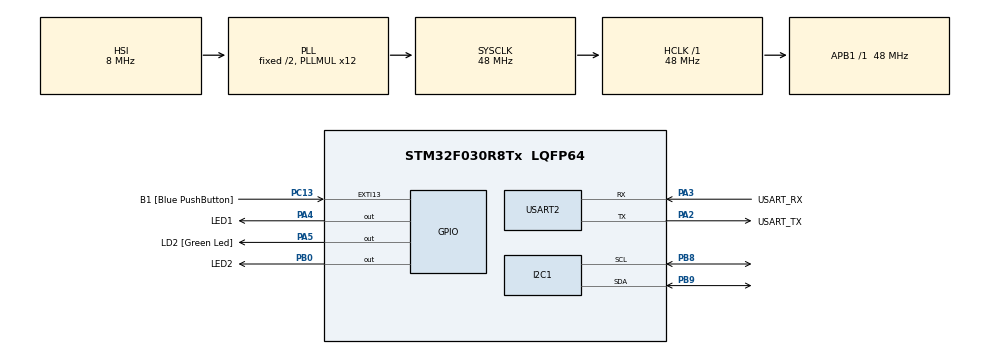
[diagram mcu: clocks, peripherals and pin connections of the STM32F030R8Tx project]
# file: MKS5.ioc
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Dma.Request0=USART2_RX
Dma.USART2_RX.0.Direction=DMA_PERIPH_TO_MEMORY
Dma.USART2_RX.0.Instance=DMA1_Channel5
Dma.USART2_RX.0.MemDataAlignment=DMA_MDATAALIGN_BYTE
Dma.USART2_RX.0.MemInc=DMA_MINC_ENABLE
Dma.USART2_RX.0.Mode=DMA_CIRCULAR
Dma.USART2_RX.0.PeriphDataAlignment=DMA_PDATAALIGN_BYTE
Dma.USART2_RX.0.PeriphInc=DMA_PINC_DISABLE
Dma.USART2_RX.0.Priority=DMA_PRIORITY_LOW
I2C1.Timing=0x00201D2B
Mcu.Family=STM32F0
Mcu.Name=STM32F030R8Tx
Mcu.Package=LQFP64
NVIC.DMA1_Channel4_5_IRQn=true\:0\:0\:false\:false\:true\:false\:true\:true
PA13.GPIO_Label=TMS
PA13.Mode=Serial_Wire
PA13.Signal=SYS_SWDIO
PA14.GPIO_Label=TCK
PA14.Mode=Serial_Wire
PA14.Signal=SYS_SWCLK
PA2.GPIO_Label=USART_TX
PA2.GPIO_Mode=GPIO_MODE_AF_PP
PA2.GPIO_PuPd=GPIO_NOPULL
PA2.GPIO_Speed=GPIO_SPEED_FREQ_LOW
PA2.Mode=Asynchronous
PA2.Signal=USART2_TX
PA3.GPIO_Label=USART_RX
PA3.GPIO_Mode=GPIO_MODE_AF_PP
PA3.GPIO_PuPd=GPIO_NOPULL
PA3.GPIO_Speed=GPIO_SPEED_FREQ_LOW
PA3.Mode=Asynchronous
PA3.Signal=USART2_RX
PA4.GPIO_Label=LED1
PA4.Signal=GPIO_Output
PA5.GPIO_Label=LD2 [Green Led]
PA5.GPIO_Mode=GPIO_MODE_OUTPUT_PP
PA5.GPIO_PuPd=GPIO_NOPULL
PA5.GPIO_Speed=GPIO_SPEED_FREQ_LOW
PA5.Signal=GPIO_Output
PB0.GPIO_Label=LED2
PB0.Signal=GPIO_Output
PB8.Mode=I2C
PB8.Signal=I2C1_SCL
PB9.Mode=I2C
PB9.Signal=I2C1_SDA
PC13.GPIO_Label=B1 [Blue PushButton]
PC13.GPIO_ModeDefaultEXTI=GPIO_MODE_IT_FALLING
PC13.Signal=GPXTI13
PC14-OSC32_IN.Mode=LSE-External-Oscillator
PC14-OSC32_IN.Signal=RCC_OSC32_IN
PC15-OSC32_OUT.Mode=LSE-External-Oscillator
PC15-OSC32_OUT.Signal=RCC_OSC32_OUT
PF0-OSC_IN.Mode=HSE-External-Clock-Source
PF0-OSC_IN.Signal=RCC_OSC_IN
PF1-OSC_OUT.Signal=RCC_OSC_OUT
ProjectManager.HeapSize=0x200
ProjectManager.StackSize=0x400
ProjectManager.TargetToolchain=STM32CubeIDE
RCC.AHBFreq_Value=48000000
RCC.APB1Freq_Value=48000000
RCC.APB1TimFreq_Value=48000000
RCC.HCLKFreq_Value=48000000
RCC.PLLMUL=RCC_PLL_MUL12
RCC.SYSCLKFreq_VALUE=48000000
RCC.SYSCLKSource=RCC_SYSCLKSOURCE_PLLCLK
USART2.VirtualMode-Asynchronous=VM_ASYNC
board=NUCLEO-F030R8

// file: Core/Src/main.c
/* USER CODE BEGIN Header */
/**
  ******************************************************************************
  * @file           : main.c
  * @brief          : Main program body
  ******************************************************************************
  * @attention
  *
  * Copyright (c) 2024 STMicroelectronics.
  * All rights reserved.
  *
  * This software is licensed under terms that can be found in the LICENSE file
  * in the root directory of this software component.
  * If no LICENSE file comes with this software, it is provided AS-IS.
  *
  ******************************************************************************
  */
/* USER CODE END Header */
#include "main.h"

/* USER CODE BEGIN Includes */
#include <stdio.h>
#include <string.h>
#include <stdlib.h>

#define RX_BUFFER_LEN 64
#define CMD_BUFFER_LEN 256
static uint8_t uart_rx_buf[RX_BUFFER_LEN];
static volatile uint16_t uart_rx_read_ptr = 0;
#define uart_rx_write_ptr (RX_BUFFER_LEN - hdma_usart2_rx.Instance->CNDTR)
#define EEPROM_ADDR 0xA0

/* USER CODE END Includes */

I2C_HandleTypeDef hi2c1;

UART_HandleTypeDef huart2;
DMA_HandleTypeDef hdma_usart2_rx;

void SystemClock_Config(void);
static void MX_GPIO_Init(void);
static void MX_DMA_Init(void);
static void MX_USART2_UART_Init(void);
static void MX_I2C1_Init(void);

/* USER CODE BEGIN 0 */

int _write(int file, char const *buf, int n)
{
	/* stdout redirection to UART2 */
	HAL_UART_Transmit(&huart2, (uint8_t*)(buf), n, HAL_MAX_DELAY);
	return n;
}

static void uart_process_command(char *cmd)
{
	printf("received: '%s'\n", cmd);

	uint16_t addr = 1;
	uint8_t value = 0;
	uint8_t value2[16];

	char *token;
	token = strtok(cmd, " ");
	if (strcasecmp(token, "HELLO") == 0)
	{
		printf("Communication OK\n");
	}
	else if (strcasecmp(token, "LED1") == 0)
	{
		token = strtok(NULL, " "); // led1?"ON":"OFF"
		if (strcasecmp(token, "ON") == 0)
		{
			HAL_GPIO_WritePin(LED1_GPIO_Port, LED1_Pin, 1);
		} else if (strcasecmp(token, "OFF") == 0)
		{
			HAL_GPIO_WritePin(LED1_GPIO_Port, LED1_Pin, 0);
		}
		printf("OK\n");
	}
	else if (strcasecmp(token, "LED2") == 0)
	{
		token = strtok(NULL, " ");
		if (strcasecmp(token, "ON") == 0)
		{
			HAL_GPIO_WritePin(LED2_GPIO_Port, LED2_Pin, 1);
		} else if (strcasecmp(token, "OFF") == 0)
		{
			HAL_GPIO_WritePin(LED2_GPIO_Port, LED2_Pin, 0);
		}
		printf("OK\n");
	}
	else if (strcasecmp(token, "STATUS") == 0)
	{
		if(HAL_GPIO_ReadPin(LED1_GPIO_Port, LED1_Pin))
		{
			printf("LED1 is ON \n");
		} else
		{
			printf("LED1 is OFF \n");
		}
		if(HAL_GPIO_ReadPin(LED2_GPIO_Port, LED2_Pin))
		{
			printf("LED2 is ON \n");
		} else
		{
			printf("LED2 is OFF \n");
		}
	} else if (strcasecmp(token, "READ") == 0)
	{
		token = strtok(NULL, " ");
		addr = atoi(token);
		HAL_I2C_Mem_Read(&hi2c1, EEPROM_ADDR, addr, I2C_MEMADD_SIZE_16BIT, &value, 1, 1000);
		printf("MEM READ '%d' '%d' \n", addr, value);
	} else if (strcasecmp(token, "WRITE") == 0)
	{
		token = strtok(NULL, " ");
		addr = atoi(token);
		token = strtok(NULL, " ");
		value = atoi(token);
		HAL_I2C_Mem_Write(&hi2c1, EEPROM_ADDR, addr, I2C_MEMADD_SIZE_16BIT, &value, 1, 1000);
		while (HAL_I2C_IsDeviceReady(&hi2c1, EEPROM_ADDR, 300, 1000) == HAL_TIMEOUT) {}
		printf("WROTE '%d' to '%d' \n", value, addr);
	} else if (strcasecmp(token, "DUMP") == 0)
	{
		HAL_I2C_Mem_Read(&hi2c1, EEPROM_ADDR, addr, I2C_MEMADD_SIZE_16BIT, value2, 16, 1000);
		for (uint8_t var = 0; var < 16; var++)
		{
			printf(" %02x", value2[var]);
			if (var % 8 == 7)
			{
				printf("\n");
			}
		}
	}
}

static void uart_byte_available(uint8_t c)
{
	static uint16_t cnt;
	static char data[CMD_BUFFER_LEN];
	if (cnt < CMD_BUFFER_LEN && c >= 32 && c <= 126) data[cnt++] = c;
	if ((c == '\n' || c == '\r') && cnt > 0) {
		data[cnt] = '\0';
		uart_process_command(data);
		cnt = 0;
	}
}

/* USER CODE END 0 */

int main(void)
{

  /* MCU Configuration--------------------------------------------------------*/

  /* Reset of all peripherals, Initializes the Flash interface and the Systick. */
  HAL_Init();

  /* Configure the system clock */
  SystemClock_Config();

  /* Initialize all configured peripherals */
  MX_GPIO_Init();
  MX_DMA_Init();
  MX_USART2_UART_Init();
  MX_I2C1_Init();
  /* USER CODE BEGIN 2 */

  HAL_UART_Receive_DMA(&huart2, uart_rx_buf, RX_BUFFER_LEN);

  /* USER CODE END 2 */

  /* Infinite loop */
  /* USER CODE BEGIN WHILE */
  while (1)
  {
	  while (uart_rx_read_ptr != uart_rx_write_ptr) {
	   uint8_t b = uart_rx_buf[uart_rx_read_ptr];
	   // increase read pointer
	   if (++uart_rx_read_ptr >= RX_BUFFER_LEN) uart_rx_read_ptr = 0;
	   // process every received byte with the RX state machine
	   uart_byte_available(b);
	  }

    /* USER CODE END WHILE */

  }
}

void SystemClock_Config(void)
{
  RCC_OscInitTypeDef RCC_OscInitStruct = {0};
  RCC_ClkInitTypeDef RCC_ClkInitStruct = {0};
  RCC_PeriphCLKInitTypeDef PeriphClkInit = {0};

  /** Initializes the RCC Oscillators according to the specified parameters
  * in the RCC_OscInitTypeDef structure.
  */
  RCC_OscInitStruct.OscillatorType = RCC_OSCILLATORTYPE_HSI;
  RCC_OscInitStruct.HSIState = RCC_HSI_ON;
  RCC_OscInitStruct.HSICalibrationValue = RCC_HSICALIBRATION_DEFAULT;
  RCC_OscInitStruct.PLL.PLLState = RCC_PLL_ON;
  RCC_OscInitStruct.PLL.PLLSource = RCC_PLLSOURCE_HSI;
  RCC_OscInitStruct.PLL.PLLMUL = RCC_PLL_MUL12;
  RCC_OscInitStruct.PLL.PREDIV = RCC_PREDIV_DIV1;
  if (HAL_RCC_OscConfig(&RCC_OscInitStruct) != HAL_OK)
  {
    Error_Handler();
  }

  /** Initializes the CPU, AHB and APB buses clocks
  */
  RCC_ClkInitStruct.ClockType = RCC_CLOCKTYPE_HCLK|RCC_CLOCKTYPE_SYSCLK
                              |RCC_CLOCKTYPE_PCLK1;
  RCC_ClkInitStruct.SYSCLKSource = RCC_SYSCLKSOURCE_PLLCLK;
  RCC_ClkInitStruct.AHBCLKDivider = RCC_SYSCLK_DIV1;
  RCC_ClkInitStruct.APB1CLKDivider = RCC_HCLK_DIV1;

  if (HAL_RCC_ClockConfig(&RCC_ClkInitStruct, FLASH_LATENCY_1) != HAL_OK)
  {
    Error_Handler();
  }
  PeriphClkInit.PeriphClockSelection = RCC_PERIPHCLK_I2C1;
  PeriphClkInit.I2c1ClockSelection = RCC_I2C1CLKSOURCE_HSI;
  if (HAL_RCCEx_PeriphCLKConfig(&PeriphClkInit) != HAL_OK)
  {
    Error_Handler();
  }
}

static void MX_I2C1_Init(void)
{

  hi2c1.Instance = I2C1;
  hi2c1.Init.Timing = 0x00201D2B;
  hi2c1.Init.OwnAddress1 = 0;
  hi2c1.Init.AddressingMode = I2C_ADDRESSINGMODE_7BIT;
  hi2c1.Init.DualAddressMode = I2C_DUALADDRESS_DISABLE;
  hi2c1.Init.OwnAddress2 = 0;
  hi2c1.Init.OwnAddress2Masks = I2C_OA2_NOMASK;
  hi2c1.Init.GeneralCallMode = I2C_GENERALCALL_DISABLE;
  hi2c1.Init.NoStretchMode = I2C_NOSTRETCH_DISABLE;
  if (HAL_I2C_Init(&hi2c1) != HAL_OK)
  {
    Error_Handler();
  }

  /** Configure Analogue filter
  */
  if (HAL_I2CEx_ConfigAnalogFilter(&hi2c1, I2C_ANALOGFILTER_ENABLE) != HAL_OK)
  {
    Error_Handler();
  }

  /** Configure Digital filter
  */
  if (HAL_I2CEx_ConfigDigitalFilter(&hi2c1, 0) != HAL_OK)
  {
    Error_Handler();
  }

}

static void MX_USART2_UART_Init(void)
{

  huart2.Instance = USART2;
  huart2.Init.BaudRate = 38400;
  huart2.Init.WordLength = UART_WORDLENGTH_8B;
  huart2.Init.StopBits = UART_STOPBITS_1;
  huart2.Init.Parity = UART_PARITY_NONE;
  huart2.Init.Mode = UART_MODE_TX_RX;
  huart2.Init.HwFlowCtl = UART_HWCONTROL_NONE;
  huart2.Init.OverSampling = UART_OVERSAMPLING_16;
  huart2.Init.OneBitSampling = UART_ONE_BIT_SAMPLE_DISABLE;
  huart2.AdvancedInit.AdvFeatureInit = UART_ADVFEATURE_NO_INIT;
  if (HAL_UART_Init(&huart2) != HAL_OK)
  {
    Error_Handler();
  }

}

static void MX_DMA_Init(void)
{

  /* DMA controller clock enable */
  __HAL_RCC_DMA1_CLK_ENABLE();

  /* DMA interrupt init */
  /* DMA1_Channel4_5_IRQn interrupt configuration */
  HAL_NVIC_SetPriority(DMA1_Channel4_5_IRQn, 0, 0);
  HAL_NVIC_EnableIRQ(DMA1_Channel4_5_IRQn);

}

static void MX_GPIO_Init(void)
{
  GPIO_InitTypeDef GPIO_InitStruct = {0};

  /* GPIO Ports Clock Enable */
  __HAL_RCC_GPIOC_CLK_ENABLE();
  __HAL_RCC_GPIOF_CLK_ENABLE();
  __HAL_RCC_GPIOA_CLK_ENABLE();
  __HAL_RCC_GPIOB_CLK_ENABLE();

  /*Configure GPIO pin Output Level */
  HAL_GPIO_WritePin(GPIOA, LED1_Pin|LD2_Pin, GPIO_PIN_RESET);

  /*Configure GPIO pin Output Level */
  HAL_GPIO_WritePin(LED2_GPIO_Port, LED2_Pin, GPIO_PIN_RESET);

  /*Configure GPIO pin : B1_Pin */
  GPIO_InitStruct.Pin = B1_Pin;
  GPIO_InitStruct.Mode = GPIO_MODE_IT_FALLING;
  GPIO_InitStruct.Pull = GPIO_NOPULL;
  HAL_GPIO_Init(B1_GPIO_Port, &GPIO_InitStruct);

  /*Configure GPIO pins : LED1_Pin LD2_Pin */
  GPIO_InitStruct.Pin = LED1_Pin|LD2_Pin;
  GPIO_InitStruct.Mode = GPIO_MODE_OUTPUT_PP;
  GPIO_InitStruct.Pull = GPIO_NOPULL;
  GPIO_InitStruct.Speed = GPIO_SPEED_FREQ_LOW;
  HAL_GPIO_Init(GPIOA, &GPIO_InitStruct);

  /*Configure GPIO pin : LED2_Pin */
  GPIO_InitStruct.Pin = LED2_Pin;
  GPIO_InitStruct.Mode = GPIO_MODE_OUTPUT_PP;
  GPIO_InitStruct.Pull = GPIO_NOPULL;
  GPIO_InitStruct.Speed = GPIO_SPEED_FREQ_LOW;
  HAL_GPIO_Init(LED2_GPIO_Port, &GPIO_InitStruct);

}

void Error_Handler(void)
{
  __disable_irq();
  while (1)
  {
  }
}
